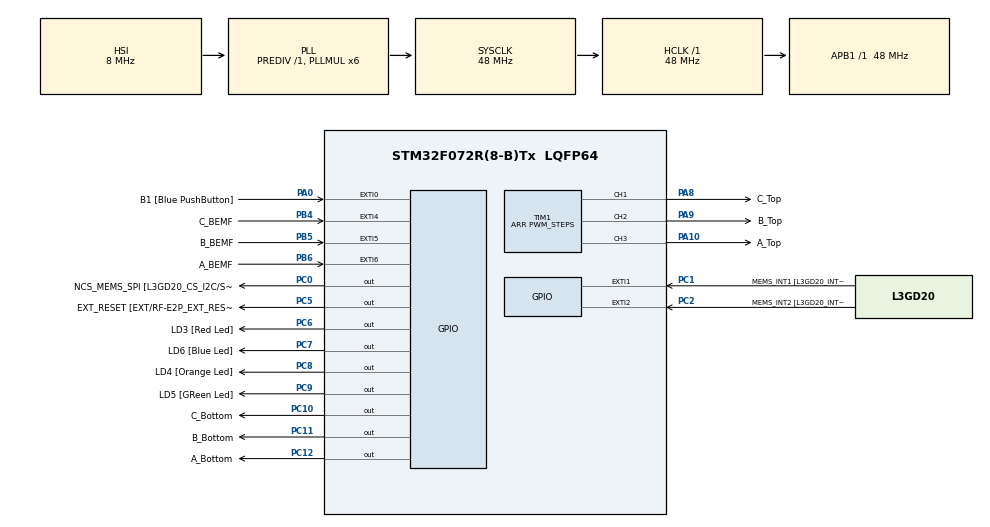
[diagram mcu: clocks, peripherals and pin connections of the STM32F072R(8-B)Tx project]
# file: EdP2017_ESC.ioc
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Mcu.Family=STM32F0
Mcu.Name=STM32F072R(8-B)Tx
Mcu.Package=LQFP64
Mcu.UserConstants=PWM_STEPS,100;PWM_FREQ,40000
NVIC.EXTI4_15_IRQn=true\:0\:0\:false\:false\:true
PA0.GPIO_Label=B1 [Blue PushButton]
PA0.GPIO_ModeDefaultEXTI=GPIO_MODE_EVT_RISING
PA0.Signal=GPXTI0
PA10.GPIO_Label=A_Top
PA10.Signal=S_TIM1_CH3
PA11.GPIO_Label=USBF4_DM
PA11.Signal=USB_DM
PA12.GPIO_Label=USBF4_DP
PA12.Signal=USB_DP
PA13.GPIO_Label=SWDIO
PA13.Signal=SYS_SWDIO
PA14.GPIO_Label=SWCLK
PA14.Signal=SYS_SWCLK
PA2.Signal=TSC_G1_IO3
PA3.Signal=TSC_G1_IO4
PA6.Signal=TSC_G2_IO3
PA7.Signal=TSC_G2_IO4
PA8.GPIO_Label=C_Top
PA8.Signal=S_TIM1_CH1
PA9.GPIO_Label=B_Top
PA9.Signal=S_TIM1_CH2
PB0.Signal=TSC_G3_IO2
PB1.Signal=TSC_G3_IO3
PB10.GPIO_Label=I2C2_SCL[EXT/RF-E2P_SCL]
PB10.Signal=I2C2_SCL
PB11.GPIO_Label=I2C2_SDA[EXT/RF-E2P_SDA]
PB11.Signal=I2C2_SDA
PB13.GPIO_Label=SPI2_SCK [L3GD20_SCL/SPC]
PB13.Signal=SPI2_SCK
PB14.GPIO_Label=SPI2_MISO [L3GD20_SDO]
PB14.Signal=SPI2_MISO
PB15.GPIO_Label=SPI2_MOSI [L3GD20_SDA/SDI]
PB15.Signal=SPI2_MOSI
PB4.GPIO_Label=C_BEMF
PB4.Signal=GPXTI4
PB5.GPIO_Label=B_BEMF
PB5.Signal=GPXTI5
PB6.GPIO_Label=A_BEMF
PB6.Signal=GPXTI6
PC0.GPIO_Label=NCS_MEMS_SPI [L3GD20_CS_I2C/SPI]
PC0.Signal=GPIO_Output
PC1.GPIO_Label=MEMS_INT1 [L3GD20_INT1]
PC1.GPIO_ModeDefaultEXTI=GPIO_MODE_EVT_RISING
PC1.Signal=GPXTI1
PC10.GPIO_Label=C_Bottom
PC10.Signal=GPIO_Output
PC11.GPIO_Label=B_Bottom
PC11.Signal=GPIO_Output
PC12.GPIO_Label=A_Bottom
PC12.Signal=GPIO_Output
PC2.GPIO_Label=MEMS_INT2 [L3GD20_INT2]
PC2.GPIO_ModeDefaultEXTI=GPIO_MODE_EVT_RISING
PC2.Signal=GPXTI2
PC5.GPIO_Label=EXT_RESET [EXT/RF-E2P_EXT_RESET]
PC5.Signal=GPIO_Output
PC6.GPIO_Label=LD3 [Red Led]
PC6.Signal=GPIO_Output
PC7.GPIO_Label=LD6 [Blue Led]
PC7.Signal=GPIO_Output
PC8.GPIO_Label=LD4 [Orange Led]
PC8.Signal=GPIO_Output
PC9.GPIO_Label=LD5 [GReen Led]
PC9.Signal=GPIO_Output
ProjectManager.HeapSize=0x200
ProjectManager.StackSize=0x400
ProjectManager.TargetToolchain=SW4STM32
RCC.AHBFreq_Value=48000000
RCC.APB1Freq_Value=48000000
RCC.APB1TimFreq_Value=48000000
RCC.HCLKFreq_Value=48000000
RCC.PLLMUL=RCC_PLL_MUL6
RCC.SYSCLKFreq_VALUE=48000000
RCC.SYSCLKSource=RCC_SYSCLKSOURCE_PLLCLK
SH.S_TIM1_CH1.0=TIM1_CH1,PWM Generation1 CH1
SH.S_TIM1_CH2.0=TIM1_CH2,PWM Generation2 CH2
SH.S_TIM1_CH3.0=TIM1_CH3,PWM Generation3 CH3
TIM1.Channel-PWM\ Generation1\ CH1=TIM_CHANNEL_1
TIM1.Channel-PWM\ Generation2\ CH2=TIM_CHANNEL_2
TIM1.Channel-PWM\ Generation3\ CH3=TIM_CHANNEL_3
TIM1.Period=PWM_STEPS
TIM1.Prescaler=(SystemCoreClock/(PWM_FREQ*PWM_STEPS))-1
TIM1.Pulse-PWM\ Generation1\ CH1=30
TIM1.Pulse-PWM\ Generation2\ CH2=30
TIM1.Pulse-PWM\ Generation3\ CH3=30
board=STM32F072B-DISCO

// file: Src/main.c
/**
  ******************************************************************************
  * File Name          : main.c
  * Description        : Main program body
  ******************************************************************************
  *
  * COPYRIGHT(c) 2017 STMicroelectronics
  *
  * Redistribution and use in source and binary forms, with or without modification,
  * are permitted provided that the following conditions are met:
  *   1. Redistributions of source code must retain the above copyright notice,
  *      this list of conditions and the following disclaimer.
  *   2. Redistributions in binary form must reproduce the above copyright notice,
  *      this list of conditions and the following disclaimer in the documentation
  *      and/or other materials provided with the distribution.
  *   3. Neither the name of STMicroelectronics nor the names of its contributors
  *      may be used to endorse or promote products derived from this software
  *      without specific prior written permission.
  *
  * THIS SOFTWARE IS PROVIDED BY THE COPYRIGHT HOLDERS AND CONTRIBUTORS "AS IS"
  * AND ANY EXPRESS OR IMPLIED WARRANTIES, INCLUDING, BUT NOT LIMITED TO, THE
  * IMPLIED WARRANTIES OF MERCHANTABILITY AND FITNESS FOR A PARTICULAR PURPOSE ARE
  * DISCLAIMED. IN NO EVENT SHALL THE COPYRIGHT HOLDER OR CONTRIBUTORS BE LIABLE
  * FOR ANY DIRECT, INDIRECT, INCIDENTAL, SPECIAL, EXEMPLARY, OR CONSEQUENTIAL
  * DAMAGES (INCLUDING, BUT NOT LIMITED TO, PROCUREMENT OF SUBSTITUTE GOODS OR
  * SERVICES; LOSS OF USE, DATA, OR PROFITS; OR BUSINESS INTERRUPTION) HOWEVER
  * CAUSED AND ON ANY THEORY OF LIABILITY, WHETHER IN CONTRACT, STRICT LIABILITY,
  * OR TORT (INCLUDING NEGLIGENCE OR OTHERWISE) ARISING IN ANY WAY OUT OF THE USE
  * OF THIS SOFTWARE, EVEN IF ADVISED OF THE POSSIBILITY OF SUCH DAMAGE.
  *
  ******************************************************************************
  */
#include "main.h"
#include "stm32f0xx_hal.h"

/* USER CODE BEGIN Includes */
#define STATE_STEP0				0
#define STATE_STEP1				1
#define STATE_STEP2				2
#define STATE_STEP3				3
#define STATE_STEP4				4
#define STATE_STEP5				5

/* USER CODE END Includes */

TIM_HandleTypeDef htim1;

/* USER CODE BEGIN PV */
/* Private variables ---------------------------------------------------------*/

/* USER CODE END PV */

void SystemClock_Config(void);
void Error_Handler(void);
static void MX_GPIO_Init(void);
static void MX_TIM1_Init(void);
void HAL_TIM_MspPostInit(TIM_HandleTypeDef *htim);

/* USER CODE BEGIN PFP */
/* Private function prototypes -----------------------------------------------*/
void Conmutation(void);
void SetDutyCycle(uint8_t);
void StartMotor(void);
/* USER CODE END PFP */

int main(void)
{

  /* MCU Configuration----------------------------------------------------------*/

  /* Reset of all peripherals, Initializes the Flash interface and the Systick. */
  HAL_Init();

  /* Configure the system clock */
  SystemClock_Config();

  /* Initialize all configured peripherals */
  MX_GPIO_Init();
  MX_TIM1_Init();

  /* USER CODE BEGIN 2 */
  __HAL_TIM_SET_COMPARE(&htim1,TIM_CHANNEL_1,50);
  __HAL_TIM_SET_COMPARE(&htim1,TIM_CHANNEL_2,50);
  __HAL_TIM_SET_COMPARE(&htim1,TIM_CHANNEL_3,50);
  HAL_TIM_PWM_Start(&htim1, TIM_CHANNEL_1);
  HAL_TIM_PWM_Start(&htim1, TIM_CHANNEL_2);
  HAL_TIM_PWM_Start(&htim1, TIM_CHANNEL_3);
  /* USER CODE END 2 */

  /* Infinite loop */
  while (1)
  {

  /* USER CODE BEGIN 3 */
	  Conmutation();
	  HAL_Delay(1);

  }
  /* USER CODE END 3 */

}

/** System Clock Configuration
*/
void SystemClock_Config(void)
{

  RCC_OscInitTypeDef RCC_OscInitStruct;
  RCC_ClkInitTypeDef RCC_ClkInitStruct;

    /**Initializes the CPU, AHB and APB busses clocks
    */
  RCC_OscInitStruct.OscillatorType = RCC_OSCILLATORTYPE_HSI;
  RCC_OscInitStruct.HSIState = RCC_HSI_ON;
  RCC_OscInitStruct.HSICalibrationValue = 16;
  RCC_OscInitStruct.PLL.PLLState = RCC_PLL_ON;
  RCC_OscInitStruct.PLL.PLLSource = RCC_PLLSOURCE_HSI;
  RCC_OscInitStruct.PLL.PLLMUL = RCC_PLL_MUL6;
  RCC_OscInitStruct.PLL.PREDIV = RCC_PREDIV_DIV1;
  if (HAL_RCC_OscConfig(&RCC_OscInitStruct) != HAL_OK)
  {
    Error_Handler();
  }

    /**Initializes the CPU, AHB and APB busses clocks
    */
  RCC_ClkInitStruct.ClockType = RCC_CLOCKTYPE_HCLK|RCC_CLOCKTYPE_SYSCLK
                              |RCC_CLOCKTYPE_PCLK1;
  RCC_ClkInitStruct.SYSCLKSource = RCC_SYSCLKSOURCE_PLLCLK;
  RCC_ClkInitStruct.AHBCLKDivider = RCC_SYSCLK_DIV1;
  RCC_ClkInitStruct.APB1CLKDivider = RCC_HCLK_DIV1;

  if (HAL_RCC_ClockConfig(&RCC_ClkInitStruct, FLASH_LATENCY_1) != HAL_OK)
  {
    Error_Handler();
  }

    /**Configure the Systick interrupt time
    */
  HAL_SYSTICK_Config(HAL_RCC_GetHCLKFreq()/1000);

    /**Configure the Systick
    */
  HAL_SYSTICK_CLKSourceConfig(SYSTICK_CLKSOURCE_HCLK);

  /* SysTick_IRQn interrupt configuration */
  HAL_NVIC_SetPriority(SysTick_IRQn, 0, 0);
}

/* TIM1 init function */
static void MX_TIM1_Init(void)
{

  TIM_MasterConfigTypeDef sMasterConfig;
  TIM_OC_InitTypeDef sConfigOC;
  TIM_BreakDeadTimeConfigTypeDef sBreakDeadTimeConfig;

  htim1.Instance = TIM1;
  htim1.Init.Prescaler = (SystemCoreClock/(PWM_FREQ*PWM_STEPS))-1;
  htim1.Init.CounterMode = TIM_COUNTERMODE_UP;
  htim1.Init.Period = PWM_STEPS;
  htim1.Init.ClockDivision = TIM_CLOCKDIVISION_DIV1;
  htim1.Init.RepetitionCounter = 0;
  htim1.Init.AutoReloadPreload = TIM_AUTORELOAD_PRELOAD_DISABLE;
  if (HAL_TIM_PWM_Init(&htim1) != HAL_OK)
  {
    Error_Handler();
  }

  sMasterConfig.MasterOutputTrigger = TIM_TRGO_RESET;
  sMasterConfig.MasterSlaveMode = TIM_MASTERSLAVEMODE_DISABLE;
  if (HAL_TIMEx_MasterConfigSynchronization(&htim1, &sMasterConfig) != HAL_OK)
  {
    Error_Handler();
  }

  sConfigOC.OCMode = TIM_OCMODE_PWM1;
  sConfigOC.Pulse = 30;
  sConfigOC.OCPolarity = TIM_OCPOLARITY_HIGH;
  sConfigOC.OCNPolarity = TIM_OCNPOLARITY_HIGH;
  sConfigOC.OCFastMode = TIM_OCFAST_DISABLE;
  sConfigOC.OCIdleState = TIM_OCIDLESTATE_RESET;
  sConfigOC.OCNIdleState = TIM_OCNIDLESTATE_RESET;
  if (HAL_TIM_PWM_ConfigChannel(&htim1, &sConfigOC, TIM_CHANNEL_1) != HAL_OK)
  {
    Error_Handler();
  }

  if (HAL_TIM_PWM_ConfigChannel(&htim1, &sConfigOC, TIM_CHANNEL_2) != HAL_OK)
  {
    Error_Handler();
  }

  if (HAL_TIM_PWM_ConfigChannel(&htim1, &sConfigOC, TIM_CHANNEL_3) != HAL_OK)
  {
    Error_Handler();
  }

  sBreakDeadTimeConfig.OffStateRunMode = TIM_OSSR_DISABLE;
  sBreakDeadTimeConfig.OffStateIDLEMode = TIM_OSSI_DISABLE;
  sBreakDeadTimeConfig.LockLevel = TIM_LOCKLEVEL_OFF;
  sBreakDeadTimeConfig.DeadTime = 0;
  sBreakDeadTimeConfig.BreakState = TIM_BREAK_DISABLE;
  sBreakDeadTimeConfig.BreakPolarity = TIM_BREAKPOLARITY_HIGH;
  sBreakDeadTimeConfig.AutomaticOutput = TIM_AUTOMATICOUTPUT_DISABLE;
  if (HAL_TIMEx_ConfigBreakDeadTime(&htim1, &sBreakDeadTimeConfig) != HAL_OK)
  {
    Error_Handler();
  }

  HAL_TIM_MspPostInit(&htim1);

}

/** Configure pins as
        * Analog
        * Input
        * Output
        * EVENT_OUT
        * EXTI
     PA2   ------> TSC_G1_IO3
     PA3   ------> TSC_G1_IO4
     PA6   ------> TSC_G2_IO3
     PA7   ------> TSC_G2_IO4
     PB0   ------> TSC_G3_IO2
     PB1   ------> TSC_G3_IO3
     PB10   ------> I2C2_SCL
     PB11   ------> I2C2_SDA
     PB13   ------> SPI2_SCK
     PB14   ------> SPI2_MISO
     PB15   ------> SPI2_MOSI
*/
static void MX_GPIO_Init(void)
{

  GPIO_InitTypeDef GPIO_InitStruct;

  /* GPIO Ports Clock Enable */
  __HAL_RCC_GPIOC_CLK_ENABLE();
  __HAL_RCC_GPIOA_CLK_ENABLE();
  __HAL_RCC_GPIOB_CLK_ENABLE();

  /*Configure GPIO pin Output Level */
  HAL_GPIO_WritePin(GPIOC, NCS_MEMS_SPI_Pin|EXT_RESET_Pin|LD3_Pin|LD6_Pin
                          |LD4_Pin|LD5_Pin|C_Bottom_Pin|B_Bottom_Pin
                          |A_Bottom_Pin, GPIO_PIN_RESET);

  /*Configure GPIO pins : NCS_MEMS_SPI_Pin EXT_RESET_Pin LD3_Pin LD6_Pin
                           LD4_Pin LD5_Pin C_Bottom_Pin B_Bottom_Pin
                           A_Bottom_Pin */
  GPIO_InitStruct.Pin = NCS_MEMS_SPI_Pin|EXT_RESET_Pin|LD3_Pin|LD6_Pin
                          |LD4_Pin|LD5_Pin|C_Bottom_Pin|B_Bottom_Pin
                          |A_Bottom_Pin;
  GPIO_InitStruct.Mode = GPIO_MODE_OUTPUT_PP;
  GPIO_InitStruct.Pull = GPIO_NOPULL;
  GPIO_InitStruct.Speed = GPIO_SPEED_FREQ_LOW;
  HAL_GPIO_Init(GPIOC, &GPIO_InitStruct);

  /*Configure GPIO pins : MEMS_INT1_Pin MEMS_INT2_Pin */
  GPIO_InitStruct.Pin = MEMS_INT1_Pin|MEMS_INT2_Pin;
  GPIO_InitStruct.Mode = GPIO_MODE_EVT_RISING;
  GPIO_InitStruct.Pull = GPIO_NOPULL;
  HAL_GPIO_Init(GPIOC, &GPIO_InitStruct);

  /*Configure GPIO pin : B1_Pin */
  GPIO_InitStruct.Pin = B1_Pin;
  GPIO_InitStruct.Mode = GPIO_MODE_EVT_RISING;
  GPIO_InitStruct.Pull = GPIO_NOPULL;
  HAL_GPIO_Init(B1_GPIO_Port, &GPIO_InitStruct);

  /*Configure GPIO pins : PA2 PA3 PA6 PA7 */
  GPIO_InitStruct.Pin = GPIO_PIN_2|GPIO_PIN_3|GPIO_PIN_6|GPIO_PIN_7;
  GPIO_InitStruct.Mode = GPIO_MODE_AF_PP;
  GPIO_InitStruct.Pull = GPIO_NOPULL;
  GPIO_InitStruct.Speed = GPIO_SPEED_FREQ_LOW;
  GPIO_InitStruct.Alternate = GPIO_AF3_TSC;
  HAL_GPIO_Init(GPIOA, &GPIO_InitStruct);

  /*Configure GPIO pins : PB0 PB1 */
  GPIO_InitStruct.Pin = GPIO_PIN_0|GPIO_PIN_1;
  GPIO_InitStruct.Mode = GPIO_MODE_AF_PP;
  GPIO_InitStruct.Pull = GPIO_NOPULL;
  GPIO_InitStruct.Speed = GPIO_SPEED_FREQ_LOW;
  GPIO_InitStruct.Alternate = GPIO_AF3_TSC;
  HAL_GPIO_Init(GPIOB, &GPIO_InitStruct);

  /*Configure GPIO pins : I2C2_SCL_Pin I2C2_SDA_Pin */
  GPIO_InitStruct.Pin = I2C2_SCL_Pin|I2C2_SDA_Pin;
  GPIO_InitStruct.Mode = GPIO_MODE_AF_OD;
  GPIO_InitStruct.Pull = GPIO_PULLUP;
  GPIO_InitStruct.Speed = GPIO_SPEED_FREQ_HIGH;
  GPIO_InitStruct.Alternate = GPIO_AF1_I2C2;
  HAL_GPIO_Init(GPIOB, &GPIO_InitStruct);

  /*Configure GPIO pins : SPI2_SCK_Pin SPI2_MISO_Pin SPI2_MOSI_Pin */
  GPIO_InitStruct.Pin = SPI2_SCK_Pin|SPI2_MISO_Pin|SPI2_MOSI_Pin;
  GPIO_InitStruct.Mode = GPIO_MODE_AF_PP;
  GPIO_InitStruct.Pull = GPIO_NOPULL;
  GPIO_InitStruct.Speed = GPIO_SPEED_FREQ_HIGH;
  GPIO_InitStruct.Alternate = GPIO_AF0_SPI2;
  HAL_GPIO_Init(GPIOB, &GPIO_InitStruct);

  /*Configure GPIO pins : C_BEMF_Pin B_BEMF_Pin A_BEMF_Pin */
  GPIO_InitStruct.Pin = C_BEMF_Pin|B_BEMF_Pin|A_BEMF_Pin;
  GPIO_InitStruct.Mode = GPIO_MODE_IT_RISING;
  GPIO_InitStruct.Pull = GPIO_NOPULL;
  HAL_GPIO_Init(GPIOB, &GPIO_InitStruct);

  /* EXTI interrupt init*/
  HAL_NVIC_SetPriority(EXTI4_15_IRQn, 0, 0);
  HAL_NVIC_EnableIRQ(EXTI4_15_IRQn);

}

/* USER CODE BEGIN 4 */
/**
  * @fn void Conmutation(void)
  * @brief Genera el próximo paso del motor, en base al estado anterior.
  * @param none
  */
void Conmutation(void)
{
	static int Estado_Conmutacion = STATE_STEP0;
	switch(Estado_Conmutacion)
	{
		case STATE_STEP0:
			HAL_TIM_PWM_Start(&htim1,TIM_CHANNEL_1);
			HAL_TIM_PWM_Stop(&htim1,TIM_CHANNEL_2);
			HAL_TIM_PWM_Stop(&htim1,TIM_CHANNEL_3);
			HAL_GPIO_WritePin(GPIOC,GPIO_PIN_12,0);
			HAL_GPIO_WritePin(GPIOC,GPIO_PIN_11,1);
			HAL_GPIO_WritePin(GPIOC,GPIO_PIN_10,0);
			Estado_Conmutacion = STATE_STEP1;
			break;
		case STATE_STEP1:
			HAL_TIM_PWM_Start(&htim1,TIM_CHANNEL_1);
			HAL_TIM_PWM_Stop(&htim1,TIM_CHANNEL_2);
			HAL_TIM_PWM_Stop(&htim1,TIM_CHANNEL_3);
			HAL_GPIO_WritePin(GPIOC,GPIO_PIN_12,0);
			HAL_GPIO_WritePin(GPIOC,GPIO_PIN_11,0);
			HAL_GPIO_WritePin(GPIOC,GPIO_PIN_10,1);
			Estado_Conmutacion = STATE_STEP2;
			break;
		case STATE_STEP2:
			HAL_TIM_PWM_Stop(&htim1,TIM_CHANNEL_1);
			HAL_TIM_PWM_Start(&htim1,TIM_CHANNEL_2);
			HAL_TIM_PWM_Stop(&htim1,TIM_CHANNEL_3);
			HAL_GPIO_WritePin(GPIOC,GPIO_PIN_12,0);
			HAL_GPIO_WritePin(GPIOC,GPIO_PIN_11,0);
			HAL_GPIO_WritePin(GPIOC,GPIO_PIN_10,1);
			Estado_Conmutacion = STATE_STEP3;
			break;
		case STATE_STEP3:
			HAL_TIM_PWM_Stop(&htim1,TIM_CHANNEL_1);
			HAL_TIM_PWM_Start(&htim1,TIM_CHANNEL_2);
			HAL_TIM_PWM_Stop(&htim1,TIM_CHANNEL_3);
			HAL_GPIO_WritePin(GPIOC,GPIO_PIN_12,1);
			HAL_GPIO_WritePin(GPIOC,GPIO_PIN_11,0);
			HAL_GPIO_WritePin(GPIOC,GPIO_PIN_10,0);
			Estado_Conmutacion = STATE_STEP4;
			break;
		case STATE_STEP4:
			HAL_TIM_PWM_Stop(&htim1,TIM_CHANNEL_1);
			HAL_TIM_PWM_Stop(&htim1,TIM_CHANNEL_2);
			HAL_TIM_PWM_Start(&htim1,TIM_CHANNEL_3);
			HAL_GPIO_WritePin(GPIOC,GPIO_PIN_12,1);
			HAL_GPIO_WritePin(GPIOC,GPIO_PIN_11,0);
			HAL_GPIO_WritePin(GPIOC,GPIO_PIN_10,0);
			Estado_Conmutacion = STATE_STEP5;
			break;
		case STATE_STEP5:
			HAL_TIM_PWM_Stop(&htim1,TIM_CHANNEL_1);
			HAL_TIM_PWM_Stop(&htim1,TIM_CHANNEL_2);
			HAL_TIM_PWM_Start(&htim1,TIM_CHANNEL_3);
			HAL_GPIO_WritePin(GPIOC,GPIO_PIN_12,0);
			HAL_GPIO_WritePin(GPIOC,GPIO_PIN_11,1);
			HAL_GPIO_WritePin(GPIOC,GPIO_PIN_10,0);
			Estado_Conmutacion = STATE_STEP0;
			break;
		default:
			HAL_TIM_PWM_Start(&htim1,TIM_CHANNEL_1);
			HAL_TIM_PWM_Stop(&htim1,TIM_CHANNEL_2);
			HAL_TIM_PWM_Stop(&htim1,TIM_CHANNEL_3);
			HAL_GPIO_WritePin(GPIOC,GPIO_PIN_12,0);
			HAL_GPIO_WritePin(GPIOC,GPIO_PIN_11,1);
			HAL_GPIO_WritePin(GPIOC,GPIO_PIN_10,0);
			Estado_Conmutacion = STATE_STEP1;
			break;
	}
}

/**
  * @fn void StartMotor(void)
  * @brief Genera el arranque del motor a lazo abierto. Luego de este, a partir de la BEMF se deberían generar los pasos.
  * @param none
  */
void StartMotor(void)
{

}

/**
  * @fn void SetDutyCycle(uint8_t duty)
  * @brief Setea el duty deseado para los tres PWM.
  * @param duty porcentaje de ancho de pulso que se desea
  */
void SetDutyCycle(uint8_t duty)
{
	__HAL_TIM_SET_COMPARE(&htim1,TIM_CHANNEL_1,duty);
	__HAL_TIM_SET_COMPARE(&htim1,TIM_CHANNEL_2,duty);
	__HAL_TIM_SET_COMPARE(&htim1,TIM_CHANNEL_3,duty);
}
/* USER CODE END 4 */

void Error_Handler(void)
{
  while(1)
  {
  }
}

/************************ (C) COPYRIGHT STMicroelectronics *****END OF FILE****/
